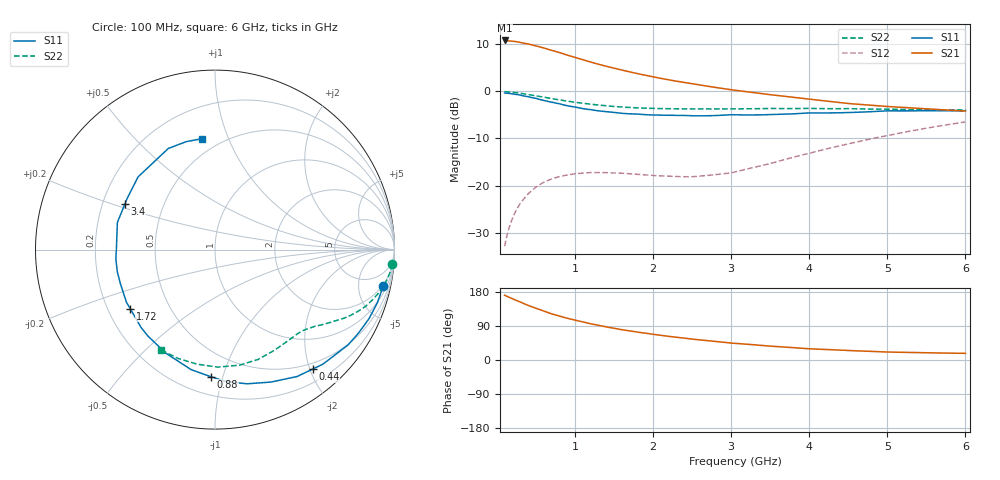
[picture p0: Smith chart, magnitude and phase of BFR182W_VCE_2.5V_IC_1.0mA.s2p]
! Infineon Technologies  Discrete & RF Semiconductors
! BFR182W
! VCE =  2.5 V,  IC =  1.0 mA
! Common Emitter S-Parameters:  Nov 2015
# GHz  S  MA  R  50
!  f  S11  S21  S12  S22
! GHz  MAG  ANG  MAG  ANG  MAG  ANG  MAG  ANG
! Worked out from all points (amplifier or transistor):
!   192 points, 100 MHz to 6 GHz, reference 50 ohm
!   highest |S21| = 10.8 dB at 100 MHz (marker M1)
!   |S21| within 3 dB of that: start of sweep to 881.8 MHz
!   unconditionally stable (mu >= 1): 2.136 GHz to 3.349 GHz
!   at 440 MHz: K = 0.20, MSG = 15.5 dB, |S12| = -21.1 dB
!   at 1.7 GHz: K = 0.80, MSG = 10.8 dB, |S12| = -17.5 dB
!   at 6 GHz: K = 0.81, MSG = 1.1 dB, |S12| = -6.5 dB
!   S11 on the Smith chart (normalised r, x): 100 MHz: 1.78, -9.01; 440 MHz: 0.40, -2.04; 880 MHz: 0.32, -0.92; 1.72 GHz: 0.29, -0.29; 3.4 GHz: 0.29, +0.22; 6 GHz: 0.40, +0.81
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0.1  0.959 -12.2  3.45 170.9  0.0229 82.3  0.9913 -4.7
0.17  0.946 -20.5  3.412 164.3  0.0385 77.6  0.9818 -7.9
0.26  0.9225 -31.0  3.338 156.3  0.0573 71.5  0.9632 -11.8
0.4  0.8769 -46.7  3.174 144.1  0.0819 63.0  0.9254 -17.2
0.44  0.8596 -50.8  3.109 141.1  0.0876 60.4  0.9134 -18.6
0.5  0.8422 -57.1  3.028 136.3  0.0965 57.2  0.8964 -20.7
0.6  0.8012 -67.1  2.877 128.9  0.1087 52.4  0.8662 -23.5
0.72  0.7611 -78.3  2.685 120.7  0.1192 47.3  0.8322 -26.4
0.88  0.7086 -91.7  2.445 111.4  0.1289 41.8  0.7912 -29.7
1  0.6816 -101.3  2.292 105.0  0.1339 38.4  0.7646 -31.9
1.1  0.6553 -108.1  2.158 100.6  0.1358 36.3  0.7465 -33.4
1.2  0.6389 -115.4  2.038 95.6  0.1378 34.2  0.729 -35.0
1.4  0.6094 -128.0  1.84 87.4  0.1376 31.5  0.701 -37.6
1.6  0.584 -139.1  1.676 80.0  0.1356 30.5  0.6811 -40.1
1.72  0.5757 -145.2  1.591 76.4  0.1335 30.7  0.6719 -41.6
2.08  0.5586 -162.5  1.379 65.7  0.1272 33.7  0.6554 -46.3
2.5  0.5499 -179.0  1.199 55.0  0.1245 42.0  0.6505 -51.8
3.1  0.5619 161.6  1.013 43.2  0.1433 57.9  0.6513 -61.5
3.4  0.5629 153.0  0.942 38.4  0.164 63.9  0.6549 -66.8
4.1  0.5888 134.2  0.808 28.8  0.2316 69.3  0.6558 -80.1
5.1  0.6196 112.8  0.682 20.6  0.3527 65.3  0.6434 -100.7
6  0.6224 96.5  0.617 17.5  0.4736 56.7  0.6348 -118.3
